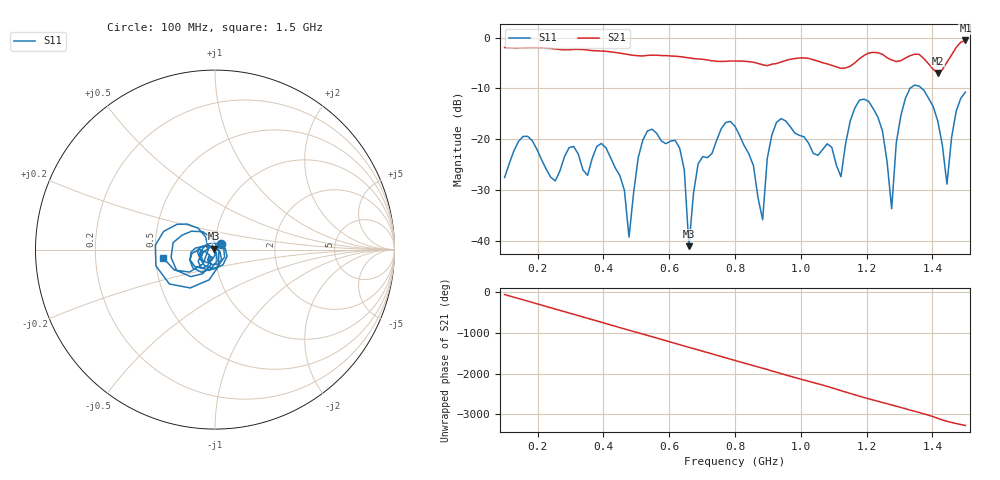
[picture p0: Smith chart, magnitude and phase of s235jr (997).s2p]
! NanoVNA-App
! Date: 2025-09-25 15:11:56
! Start: 100MHz Stop: 1,5GHz Points: 101
! S-Parameter data: F S11 S21 S12 S22
# Hz S RI R 50
!  Frequency  S11_Real  S11_Imag  S21_Real  S21_Imag  S12_Real  S12_Imag  S22_Real  S22_Imag
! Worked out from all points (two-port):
!   101 points, 100 MHz to 1.5 GHz, reference 50 ohm
!   highest |S21| = -0.58 dB at 1.5 GHz (marker M1); lowest = -7.0 dB at 1.416 GHz (marker M2)
!   |S21| within 3 dB of the highest: start of sweep to 505.3 MHz; 525 MHz to 595.4 MHz (70.44 MHz wide, 12.6 % of centre) (the widest 2 of 5)
!   lowest |S11| = -40.9 dB at 660 MHz (marker M3), VSWR 1.02, Z = 49.3 + j0.53 ohm
!   |S11| at or under -10 dB: start of sweep to 1.332 GHz; 1.368 GHz to end of sweep
!   S12 and S22 are empty: the file has one direction only
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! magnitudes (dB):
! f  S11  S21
! 100 MHz  -27.5  -2.0
! 156 MHz  -19.4  -2.0
! 338 MHz  -26.0  -2.4
! 408 MHz  -21.6  -2.7
! 478 MHz  -39.2  -3.4
! 520 MHz  -20.1  -3.6
! 576 MHz  -20.3  -3.5
! 632 MHz  -21.7  -3.7
! 660 MHz  -40.9  -4.0
! 688 MHz  -24.8  -4.2
! 800 MHz  -17.4  -4.6
! 884 MHz  -35.7  -5.4
! 926 MHz  -16.7  -5.1
! 1.038 GHz  -22.7  -4.4
! 1.122 GHz  -27.3  -6.1
! 1.206 GHz  -12.5  -3.0
! 1.276 GHz  -33.6  -4.4
! 1.29 GHz  -20.7  -4.7
! 1.332 GHz  -9.9  -3.6
! 1.416 GHz  -16.4  -7.0
! 1.444 GHz  -28.8  -4.8
! 1.5 GHz  -10.7  -0.6
